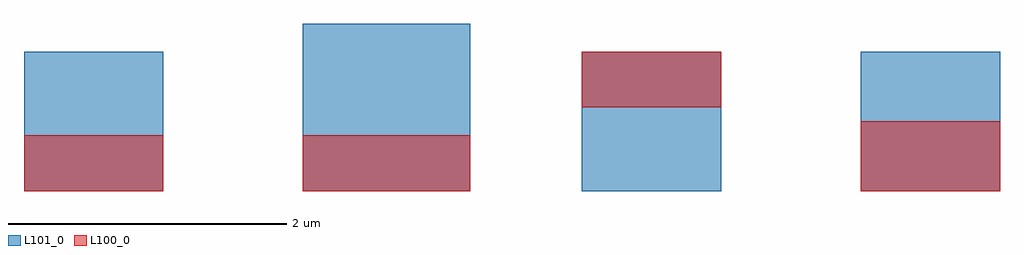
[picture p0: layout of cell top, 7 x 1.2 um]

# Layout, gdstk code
import gdstk
lib = gdstk.Library(unit=1e-6, precision=1e-09)
def R(c, l, rs):  # rectangles x0, y0, x1, y1
    for r in rs: c.add(gdstk.rectangle(r[:2], r[2:], *l))
L100_0 = (100, 0)
L101_0 = (101, 0)

top = lib.new_cell('top')
R(top, L100_0, [(0,0,1,0.4), (2,0,3.2,0.4), (6,0,7,0.5), (4,0.6,5,1)])
R(top, L101_0, [(0,0,1,1), (2,0,3.2,1.2), (4,0,5,1), (6,0,7,1)])

lib.write_gds('top.gds')
